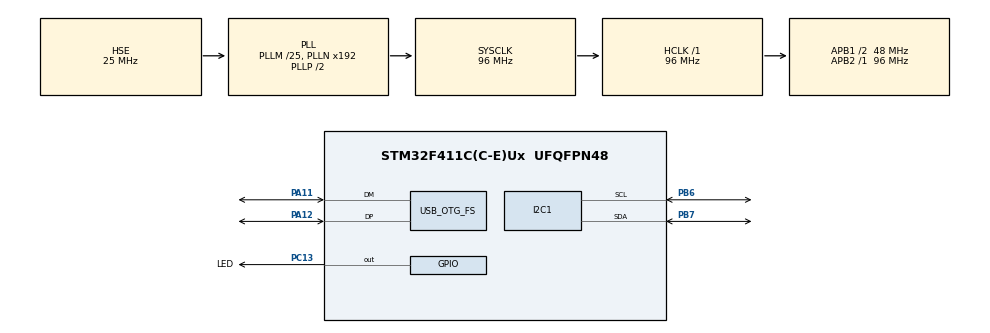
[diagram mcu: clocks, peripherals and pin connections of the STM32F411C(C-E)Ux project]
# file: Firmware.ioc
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Mcu.Family=STM32F4
Mcu.Name=STM32F411C(C-E)Ux
Mcu.Package=UFQFPN48
NVIC.OTG_FS_IRQn=true\:0\:0\:false\:false\:true\:false\:true\:true
NVIC.PriorityGroup=NVIC_PRIORITYGROUP_4
PA11.Mode=Device_Only
PA11.Signal=USB_OTG_FS_DM
PA12.Mode=Device_Only
PA12.Signal=USB_OTG_FS_DP
PA13.Mode=Serial_Wire
PA13.Signal=SYS_JTMS-SWDIO
PA14.Mode=Serial_Wire
PA14.Signal=SYS_JTCK-SWCLK
PB6.Mode=I2C
PB6.Signal=I2C1_SCL
PB7.Mode=I2C
PB7.Signal=I2C1_SDA
PC13-ANTI_TAMP.GPIO_Label=LED
PC13-ANTI_TAMP.Signal=GPIO_Output
PH0\ -\ OSC_IN.Mode=HSE-External-Oscillator
PH0\ -\ OSC_IN.Signal=RCC_OSC_IN
PH1\ -\ OSC_OUT.Mode=HSE-External-Oscillator
PH1\ -\ OSC_OUT.Signal=RCC_OSC_OUT
ProjectManager.HeapSize=0x200
ProjectManager.StackSize=0x1000
ProjectManager.TargetToolchain=CMake
RCC.48MHZClocksFreq_Value=48000000
RCC.AHBFreq_Value=96000000
RCC.APB1CLKDivider=RCC_HCLK_DIV2
RCC.APB1Freq_Value=48000000
RCC.APB1TimFreq_Value=96000000
RCC.APB2Freq_Value=96000000
RCC.APB2TimFreq_Value=96000000
RCC.CortexFreq_Value=96000000
RCC.HCLKFreq_Value=96000000
RCC.HSE_VALUE=25000000
RCC.HSI_VALUE=16000000
RCC.LSE_VALUE=32768
RCC.PLLM=25
RCC.SYSCLKFreq_VALUE=96000000
RCC.SYSCLKSource=RCC_SYSCLKSOURCE_PLLCLK
RCC.VCOOutputFreq_Value=192000000
USB_DEVICE.CLASS_NAME_FS=CDC
USB_DEVICE.VirtualMode=Cdc
USB_DEVICE.VirtualModeFS=Cdc_FS
USB_OTG_FS.VirtualMode=Device_Only
VP_USB_DEVICE_VS_USB_DEVICE_CDC_FS.Mode=CDC_FS
board=custom

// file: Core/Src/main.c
/* USER CODE BEGIN Header */
/**
 ******************************************************************************
 * @file           : main.c
 * @brief          : Main program body
 ******************************************************************************
 * @attention
 *
 * Copyright (c) 2026 STMicroelectronics.
 * All rights reserved.
 *
 * This software is licensed under terms that can be found in the LICENSE file
 * in the root directory of this software component.
 * If no LICENSE file comes with this software, it is provided AS-IS.
 *
 ******************************************************************************
 */
/* USER CODE END Header */
#include "main.h"
#include "usb_device.h"

/* USER CODE BEGIN Includes */
#include <stdio.h>
#include <string.h>

#include "usbd_cdc.h"
#include "usbd_cdc_if.h"

#include "i2c_protocol.h"
#include "gy91.h"

#include "helius/core.h"
#include "helius/calibration.h"
/* USER CODE END Includes */

/* USER CODE BEGIN PD */
#define GYRO_RATE_HZ 1000U
#define ACCEL_RATE_HZ 100U
#define MAG_RATE_HZ 100U
#define LOG_RATE_HZ 50U
#define RAD_TO_DEG (180.0f / 3.14159265358979323846f)

#define MPU9250_ADDRESS (0x68 << 1) // Shifted left for HAL I2C
#define AK8963_ADDRESS (0x0C << 1)	// Shifted left for HAL I2C
/* USER CODE END PD */

I2C_HandleTypeDef hi2c1;

/* USER CODE BEGIN PV */
static I2C_Protocol i2c_protocol;
static GY91_Driver gy91;
static core_t helius;
/* USER CODE END PV */

void SystemClock_Config(void);
static void MX_GPIO_Init(void);
static void MX_I2C1_Init(void);

/* USER CODE BEGIN 0 */
int _write(int file, char *ptr, int len)
{
	uint32_t timeout = HAL_GetTick() + 100;

	while (CDC_Transmit_FS((uint8_t *)ptr, len) == USBD_BUSY)
	{
		if (HAL_GetTick() >= timeout)
			return 0;
	}

	return len;
}

static void DWT_CycleCounter_Init(void)
{
	CoreDebug->DEMCR |= CoreDebug_DEMCR_TRCENA_Msk;
	DWT->CYCCNT = 0U;
	DWT->CTRL |= DWT_CTRL_CYCCNTENA_Msk;
}

static uint32_t DWT_CyclesSince(uint32_t start)
{
	return DWT->CYCCNT - start;
}

static void ProcessCommands(
	const char *command)
{
	core_status_t status;

	if (strcmp(command, "CAL MAG START") == 0)
	{
		status = core_command(
			&helius,
			CORE_CMD_MAG_CAL_START);

		if (status == CORE_STATUS_OK)
		{
			printf("OK,CAL MAG START\r\n");
		}
		else
		{
			printf(
				"ERROR,CAL MAG START,%d\r\n",
				(int)status);
		}

		return;
	}

	if (strcmp(command, "CAL MAG STOP") == 0)
	{
		status = core_command(
			&helius,
			CORE_CMD_MAG_CAL_STOP);

		if (status == CORE_STATUS_OK)
		{
			printf("OK,CAL MAG STOP\r\n");
		}
		else
		{
			printf(
				"ERROR,CAL MAG STOP,%d\r\n",
				(int)status);
		}

		return;
	}

	printf("ERROR,UNKNOWN COMMAND\r\n");
}
/* USER CODE END 0 */

int main(void)
{

	/* MCU Configuration--------------------------------------------------------*/

	/* Reset of all peripherals, Initializes the Flash interface and the Systick. */
	HAL_Init();

	/* Configure the system clock */
	SystemClock_Config();

	/* Initialize all configured peripherals */
	MX_GPIO_Init();
	MX_I2C1_Init();
	MX_USB_DEVICE_Init();
	/* USER CODE BEGIN 2 */
	if (i2c_protocol_init(&i2c_protocol, &hi2c1, 1000) != I2C_PROTOCOL_OK)
	{
		printf("I2C protocol initialization failed!\n");
		return -1;
	}

	printf("I2C protocol initialized successfully.\n");

	if (gy91_init(&gy91, &i2c_protocol, MPU9250_ADDRESS, AK8963_ADDRESS) != GY91_STATUS_OK)
	{
		printf("GY91 initialization failed!\n");
		return -1;
	}

	printf("GY91 initialized successfully.\n");

	/* ---------------------------------------------------------
	 * Helius configuration
	 * --------------------------------------------------------- */

	core_config_t core_config = {
		.ahrs_config = {
			.initial_orientation_std = 0.2f,
			.initial_gyro_bias_std = 0.1f,
			.gyro_noise_density = 0.00017f,
			.gyro_bias_random_walk = 2.0e-5f,
			.accel_noise_density = 0.002942f,
		}};

	/* ---------------------------------------------------------
	 * Magnetometer calibration
	 *
	 * FUTURE:
	 * storage_load_mag_calibration(&mag_calibration);
	 * --------------------------------------------------------- */

	mag_calibration_t mag_calibration;
	if (calibration_mag_identity(&mag_calibration) != CALIBRATION_STATUS_OK)
	{
		printf("Failed to initialize MAG calibration.\r\n");
		return -1;
	}

	/* ---------------------------------------------------------
	 * Core
	 * --------------------------------------------------------- */

	if (core_init(&helius, &core_config, &mag_calibration) != CORE_STATUS_OK)
	{
		printf("Helius core initialization failed!\r\n");
		return -1;
	}

	printf("Helius core initialized successfully.\r\n");

	DWT_CycleCounter_Init();
	/* USER CODE END 2 */

	/* Infinite loop */
	/* USER CODE BEGIN WHILE */
	const uint32_t gyro_period_cycles = SystemCoreClock / GYRO_RATE_HZ;
	const uint32_t accel_divider = GYRO_RATE_HZ / ACCEL_RATE_HZ;
	const uint32_t mag_divider = GYRO_RATE_HZ / MAG_RATE_HZ;
	const uint32_t log_divider = GYRO_RATE_HZ / LOG_RATE_HZ;
	uint32_t last_gyro_cycle = DWT->CYCCNT;
	uint32_t next_gyro_cycle = last_gyro_cycle + gyro_period_cycles;
	uint32_t gyro_count = 0U;

	while (1)
	{
		char command[64];

		if (CDC_GetCommand(
				command,
				sizeof(command)))
		{
			ProcessCommands(command);
		}

		/* Signed subtraction keeps this comparison valid across CYCCNT wrap. */
		if ((int32_t)(DWT->CYCCNT - next_gyro_cycle) < 0)
		{
			continue;
		}

		uint32_t sample_cycle = DWT->CYCCNT;
		float gyro_dt = (float)DWT_CyclesSince(last_gyro_cycle) /
						(float)SystemCoreClock;
		last_gyro_cycle = sample_cycle;

		/*
		 * Advance from the previous deadline instead of from "now", avoiding
		 * accumulated drift. Skip expired slots if one iteration overruns.
		 */
		do
		{
			next_gyro_cycle += gyro_period_cycles;
		} while ((int32_t)(sample_cycle - next_gyro_cycle) >= 0);

		if (gy91_read_mpu9250_data(&gy91) != GY91_STATUS_OK)
		{
			continue;
		}

		/* -----------------------------------------------------
		 * Gyroscope / prediction - 1000 Hz
		 * ----------------------------------------------------- */

		core_status_t core_status = core_update_gyro(
			&helius,
			&gy91.data.gyro_rps,
			gyro_dt);

		if (core_status != CORE_STATUS_OK)
		{
			/* error handling */
		}

		gyro_count++;

		/* -----------------------------------------------------
		 * Accelerometer correction - 100 Hz
		 * ----------------------------------------------------- */

		if ((gyro_count % accel_divider) == 0U)
		{
			if ((gyro_count % accel_divider) == 0U)
			{
				core_status_t core_status = core_update_accel(
					&helius,
					&gy91.data.accel_mps2);

				if (core_status != CORE_STATUS_OK)
				{
					/* error handling */
				}
			}
		}

		/* -----------------------------------------------------
		 * Magnetometer correction - 100 Hz
		 * ----------------------------------------------------- */

		if ((gyro_count % mag_divider) == 0U)
		{
			if (gy91_read_ak8963_data(&gy91) == GY91_STATUS_OK)
			{
				core_status_t core_status = core_update_mag(
					&helius,
					&gy91.data.mag_ut);

				if (core_status == CORE_STATUS_CALIBRATION_ACTIVE)
				{
					/*
					 * Estamos coletando dados para hard/soft iron.
					 * Envia MAG RAW para o Python.
					 */

					char msg[96];

					int len = snprintf(
						msg,
						sizeof(msg),
						"MAG,%.6f,%.6f,%.6f\r\n",
						gy91.data.mag_ut.x,
						gy91.data.mag_ut.y,
						gy91.data.mag_ut.z);

					if (len > 0)
					{
						(void)CDC_Transmit_FS(
							(uint8_t *)msg,
							(uint16_t)len);
					}
				}
				else if (core_status != CORE_STATUS_OK)
				{
					/*
					 * Erro real.
					 */
				}
			}
		}

		/* -----------------------------------------------------
		 * Logging - 20 Hz
		 * ----------------------------------------------------- */

		if ((gyro_count % log_divider) == 0U && core_get_mode(&helius) == CORE_MODE_NORMAL)
		{
			char msg[128];

			int len = snprintf(
				msg,
				sizeof(msg),
				">accel_x:%.4f\n"
				">accel_y:%.4f\n"
				">accel_z:%.4f\n"
				">mag_x:%.4f\n"
				">mag_y:%.4f\n"
				">mag_z:%.4f\n",

				gy91.data.accel_mps2.x,
				gy91.data.accel_mps2.y,
				gy91.data.accel_mps2.z,

				gy91.data.mag_ut.x,
				gy91.data.mag_ut.y,
				gy91.data.mag_ut.z);

			if (len > 0)
			{
				(void)CDC_Transmit_FS(
					(uint8_t *)msg,
					(uint16_t)len);
			}
		}
		/* USER CODE END WHILE */

	}
}

void SystemClock_Config(void)
{
	RCC_OscInitTypeDef RCC_OscInitStruct = {0};
	RCC_ClkInitTypeDef RCC_ClkInitStruct = {0};

	/** Configure the main internal regulator output voltage
	 */
	__HAL_RCC_PWR_CLK_ENABLE();
	__HAL_PWR_VOLTAGESCALING_CONFIG(PWR_REGULATOR_VOLTAGE_SCALE1);

	/** Initializes the RCC Oscillators according to the specified parameters
	 * in the RCC_OscInitTypeDef structure.
	 */
	RCC_OscInitStruct.OscillatorType = RCC_OSCILLATORTYPE_HSE;
	RCC_OscInitStruct.HSEState = RCC_HSE_ON;
	RCC_OscInitStruct.PLL.PLLState = RCC_PLL_ON;
	RCC_OscInitStruct.PLL.PLLSource = RCC_PLLSOURCE_HSE;
	RCC_OscInitStruct.PLL.PLLM = 25;
	RCC_OscInitStruct.PLL.PLLN = 192;
	RCC_OscInitStruct.PLL.PLLP = RCC_PLLP_DIV2;
	RCC_OscInitStruct.PLL.PLLQ = 4;
	if (HAL_RCC_OscConfig(&RCC_OscInitStruct) != HAL_OK)
	{
		Error_Handler();
	}

	/** Initializes the CPU, AHB and APB buses clocks
	 */
	RCC_ClkInitStruct.ClockType = RCC_CLOCKTYPE_HCLK | RCC_CLOCKTYPE_SYSCLK | RCC_CLOCKTYPE_PCLK1 | RCC_CLOCKTYPE_PCLK2;
	RCC_ClkInitStruct.SYSCLKSource = RCC_SYSCLKSOURCE_PLLCLK;
	RCC_ClkInitStruct.AHBCLKDivider = RCC_SYSCLK_DIV1;
	RCC_ClkInitStruct.APB1CLKDivider = RCC_HCLK_DIV2;
	RCC_ClkInitStruct.APB2CLKDivider = RCC_HCLK_DIV1;

	if (HAL_RCC_ClockConfig(&RCC_ClkInitStruct, FLASH_LATENCY_3) != HAL_OK)
	{
		Error_Handler();
	}
}

static void MX_I2C1_Init(void)
{

	hi2c1.Instance = I2C1;
	hi2c1.Init.ClockSpeed = 100000;
	hi2c1.Init.DutyCycle = I2C_DUTYCYCLE_2;
	hi2c1.Init.OwnAddress1 = 0;
	hi2c1.Init.AddressingMode = I2C_ADDRESSINGMODE_7BIT;
	hi2c1.Init.DualAddressMode = I2C_DUALADDRESS_DISABLE;
	hi2c1.Init.OwnAddress2 = 0;
	hi2c1.Init.GeneralCallMode = I2C_GENERALCALL_DISABLE;
	hi2c1.Init.NoStretchMode = I2C_NOSTRETCH_DISABLE;
	if (HAL_I2C_Init(&hi2c1) != HAL_OK)
	{
		Error_Handler();
	}
}

static void MX_GPIO_Init(void)
{
	GPIO_InitTypeDef GPIO_InitStruct = {0};

	/* GPIO Ports Clock Enable */
	__HAL_RCC_GPIOC_CLK_ENABLE();
	__HAL_RCC_GPIOH_CLK_ENABLE();
	__HAL_RCC_GPIOA_CLK_ENABLE();
	__HAL_RCC_GPIOB_CLK_ENABLE();

	/*Configure GPIO pin Output Level */
	HAL_GPIO_WritePin(LED_GPIO_Port, LED_Pin, GPIO_PIN_RESET);

	/*Configure GPIO pin : LED_Pin */
	GPIO_InitStruct.Pin = LED_Pin;
	GPIO_InitStruct.Mode = GPIO_MODE_OUTPUT_PP;
	GPIO_InitStruct.Pull = GPIO_NOPULL;
	GPIO_InitStruct.Speed = GPIO_SPEED_FREQ_LOW;
	HAL_GPIO_Init(LED_GPIO_Port, &GPIO_InitStruct);

}

void Error_Handler(void)
{
	__disable_irq();
	while (1)
	{
	}
}
